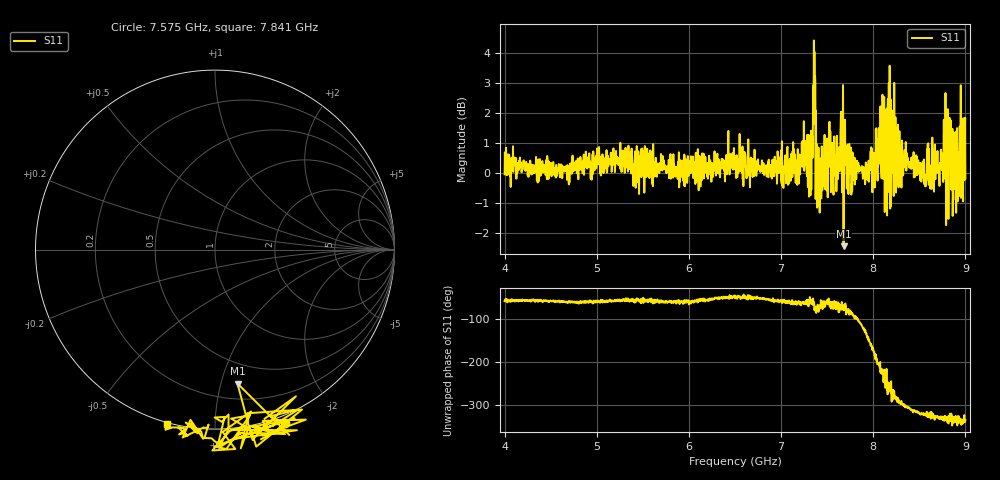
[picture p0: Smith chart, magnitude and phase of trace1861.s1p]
! Created with skrf 1.8.0 (http://scikit-rf.org).
# Hz S RI R 50.0
!freq ReS11 ImS11
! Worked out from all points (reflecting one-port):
!   1601 points, 4 GHz to 9 GHz, reference 50 ohm
!   lowest |S11| = -2.4 dB at 7.678 GHz (marker M1), VSWR 7.22, Z = 16.2 - j56.5 ohm
!   phase of S11 starts at -59 deg and turns -275 deg over the sweep
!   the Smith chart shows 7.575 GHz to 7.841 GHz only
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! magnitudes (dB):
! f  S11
! 4 GHz  0.0
! 4.625 GHz  -0.2
! 5.25 GHz  0.4
! 5.875 GHz  0.1
! 6.5 GHz  0.2
! 7.125 GHz  0.7
! 7.303 GHz  -0.8
! 7.328 GHz  -0.5
! 7.347 GHz  2.9
! 7.359 GHz  1.7
! 7.412 GHz  -0.1
! 7.512 GHz  1.0
! 7.578 GHz  1.2
! 7.65 GHz  2.1
! 7.678 GHz  -2.4
! 7.75 GHz  0.3
! 8 GHz  -0.1
! 8.066 GHz  0.6
! 8.097 GHz  0.9
! 8.15 GHz  -1.4
! 8.178 GHz  3.6
! 8.197 GHz  0.0
! 8.375 GHz  0.5
! 8.556 GHz  -0.4
! 8.834 GHz  1.2
! 8.869 GHz  -0.9
! 8.959 GHz  1.8
! 9 GHz  -0.2
